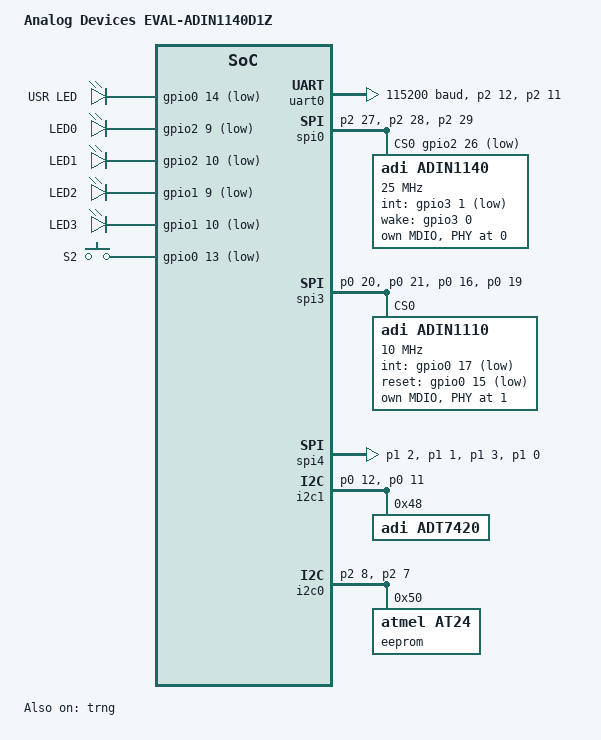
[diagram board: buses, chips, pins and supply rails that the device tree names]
/*
 * Copyright (c) 2024-2026 Analog Devices, Inc.
 *
 * SPDX-License-Identifier: Apache-2.0
 */

/dts-v1/;

#include <adi/max32/max32690-m4.dtsi>
#include <adi/max32/max32690-pinctrl.dtsi>
#include <zephyr/dt-bindings/gpio/adi-max32-gpio.h>
#include <zephyr/dt-bindings/input/input-event-codes.h>

/ {
	model = "Analog Devices EVAL-ADIN1140D1Z";
	compatible = "adi,eval-adin1140d1z";

	chosen {
		zephyr,console = &uart0;
		zephyr,shell-uart = &uart0;
		zephyr,sram = &sram0;
		zephyr,flash = &flash0;
	};

	leds {
		compatible = "gpio-leds";

		user_led: user_led {
			gpios = <&gpio0 14 GPIO_ACTIVE_LOW>;
			label = "USR LED";
		};

		uc_led0: uc_led0 {
			gpios = <&gpio2 9 GPIO_ACTIVE_LOW>;
			label = "LED0";
		};

		uc_led1: uc_led1 {
			gpios = <&gpio2 10 GPIO_ACTIVE_LOW>;
			label = "LED1";
		};

		uc_led2: uc_led2 {
			gpios = <&gpio1 9 GPIO_ACTIVE_LOW>;
			label = "LED2";
		};

		uc_led3: uc_led3 {
			gpios = <&gpio1 10 GPIO_ACTIVE_LOW>;
			label = "LED3";
		};
	};

	buttons {
		compatible = "gpio-keys";

		usr_btn: usr_btn {
			gpios = <&gpio0 13 GPIO_ACTIVE_LOW>;
			label = "S2";
			zephyr,code = <INPUT_KEY_0>;
		};
	};

	aliases {
		led0 = &user_led;
		led1 = &uc_led0;
		led2 = &uc_led1;
		sw0 = &usr_btn;
		ambient-temp0 = &adt7420;
	};
};

&clk_ipo {
	status = "okay";
};

&clk_ibro {
	status = "okay";
};

&gpio0 {
	status = "okay";
};

&gpio1 {
	status = "okay";
};

&gpio2 {
	status = "okay";
};

&gpio3 {
	status = "okay";
};

&gpio4 {
	status = "okay";
};

&uart0 {
	clock-source = <ADI_MAX32_PRPH_CLK_SRC_IBRO>;
	pinctrl-0 = <&uart0a_tx_p2_12 &uart0a_rx_p2_11>;
	pinctrl-names = "default";
	current-speed = <115200>;
	data-bits = <8>;
	parity = "none";
	status = "okay";
};

&trng {
	status = "okay";
};

&dma0 {
	status = "okay";
};

&spi0b_miso_p2_27 {
	power-source = <MAX32_VSEL_VDDIOH>;
};

&spi0b_mosi_p2_28 {
	power-source = <MAX32_VSEL_VDDIOH>;
};

&spi0b_sck_p2_29 {
	power-source = <MAX32_VSEL_VDDIOH>;
};

&spi0b_ss1_p2_26 {
	power-source = <MAX32_VSEL_VDDIOH>;
};

&spi0 {
	status = "okay";
	pinctrl-0 = <&spi0b_miso_p2_27 &spi0b_mosi_p2_28 &spi0b_sck_p2_29>;
	cs-gpios = <&gpio2 26 (GPIO_ACTIVE_LOW | MAX32_GPIO_VSEL_VDDIOH)>;
	pinctrl-names = "default";

	dmas = <&dma0 1 MAX32_DMA_SLOT_SPI0_TX>, <&dma0 2 MAX32_DMA_SLOT_SPI0_RX>;
	dma-names = "tx", "rx";

	adin1140: adin1140@0 {
		compatible = "adi,adin1140";
		reg = <0x0>;
		spi-max-frequency = <DT_FREQ_M(25)>;
		int-gpios = <&gpio3 1 (GPIO_ACTIVE_LOW | MAX32_GPIO_VSEL_VDDIOH | GPIO_PULL_UP)>;
		wake-gpios = <&gpio3 0 (GPIO_ACTIVE_HIGH | MAX32_GPIO_VSEL_VDDIOH)>;
		status = "okay";
		local-mac-address = [00 e0 22 fe da d0];
		phy-handle = <&adin1140_phy>;

		mdio {
			compatible = "adi,adin1140-mdio";
			#address-cells = <1>;
			#size-cells = <0>;

			adin1140_phy: ethernet-phy@0 {
				reg = <0x0>;
				compatible = "adi,adin1140-phy";
				plca-enable;
				plca-node-id = <0>;
				plca-node-count = <5>;
				plca-burst-count = <0>;
				plca-burst-timer = <0x60>;
				plca-to-timer = <0x20>;
			};
		};
	};
};

&spi3a_miso_p0_20 {
	power-source = <MAX32_VSEL_VDDIOH>;
};

&spi3a_mosi_p0_21 {
	power-source = <MAX32_VSEL_VDDIOH>;
};

&spi3a_sck_p0_16 {
	power-source = <MAX32_VSEL_VDDIOH>;
};

&spi3a_ss0_p0_19 {
	power-source = <MAX32_VSEL_VDDIOH>;
};

&spi3 {
	pinctrl-0 = <&spi3a_miso_p0_20 &spi3a_mosi_p0_21 &spi3a_sck_p0_16
		     &spi3a_ss0_p0_19>;
	pinctrl-names = "default";
	status = "okay";

	adin1110: adin1110@0 {
		compatible = "adi,adin1110";
		reg = <0x0>;
		spi-max-frequency = <DT_FREQ_M(10)>;
		int-gpios = <&gpio0 17 (GPIO_ACTIVE_LOW | MAX32_GPIO_VSEL_VDDIOH)>;
		reset-gpios = <&gpio0 15 (GPIO_ACTIVE_LOW | MAX32_GPIO_VSEL_VDDIOH)>;
		status = "okay";

		port1 {
			local-mac-address = [00 e0 22 fe da c9];
		};

		mdio {
			compatible = "adi,adin2111-mdio";
			#address-cells = <1>;
			#size-cells = <0>;

			ethernet-phy@1 {
				reg = <0x1>;
				compatible = "adi,adin2111-phy";
			};
		};
	};
};

&spi4a_miso_p1_2 {
	power-source = <MAX32_VSEL_VDDIOH>;
};

&spi4a_mosi_p1_1 {
	power-source = <MAX32_VSEL_VDDIOH>;
};

&spi4a_sck_p1_3 {
	power-source = <MAX32_VSEL_VDDIOH>;
};

&spi4a_ss0_p1_0 {
	power-source = <MAX32_VSEL_VDDIOH>;
};

pmod_spi: &spi4 {
	pinctrl-0 = <&spi4a_miso_p1_2 &spi4a_mosi_p1_1 &spi4a_sck_p1_3
		     &spi4a_ss0_p1_0>;
	pinctrl-names = "default";
};

&i2c1 {
	status = "okay";
	pinctrl-0 = <&i2c1a_scl_p0_12 &i2c1a_sda_p0_11>;
	pinctrl-names = "default";

	adt7420: adt7420@48 {
		compatible = "adi,adt7420";
		reg = <0x48>;
	};
};

&i2c0 {
	status = "okay";
	pinctrl-0 = <&i2c0a_scl_p2_8 &i2c0a_sda_p2_7>;
	pinctrl-names = "default";

	eeprom: eeprom@50 {
		compatible = "atmel,at24";
		reg = <0x50>;
		status = "okay";
		size = <DT_SIZE_K(64)>;
		pagesize = <32>;
		address-width = <8>;
		timeout = <5>;
	};
};
